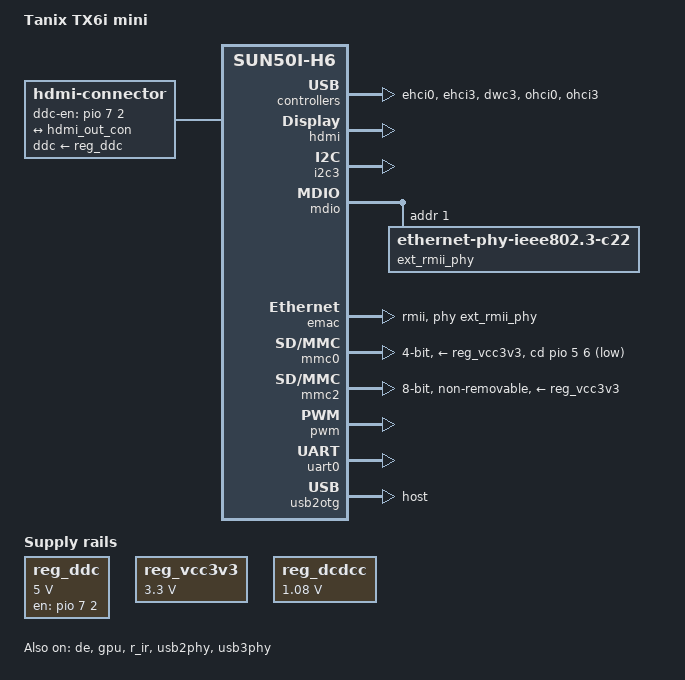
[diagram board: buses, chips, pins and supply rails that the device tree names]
// SPDX-License-Identifier: (GPL-2.0+ or MIT)
/*
 * Copyright (c) 2019 Jernej Skrabec <jernej.skrabec@siol.net>
 */

/dts-v1/;

#include "sun50i-h6.dtsi"

#include <dt-bindings/gpio/gpio.h>

/ {
	model = "Tanix TX6i mini";
	compatible = "oranth,tanix-tx6-mini", "allwinner,sun50i-h6";

	aliases {
		serial0 = &uart0;
		ethernet0 = &emac;
	};

	chosen {
		stdout-path = "serial0:115200n8";
	};

	connector {
		compatible = "hdmi-connector";
		ddc-en-gpios = <&pio 7 2 GPIO_ACTIVE_HIGH>; /* PH2 */
		type = "a";
		ddc-supply = <&reg_ddc>;

		port {
			hdmi_con_in: endpoint {
				remote-endpoint = <&hdmi_out_con>;
			};
		};
	};

	reg_ddc: ddc-io {
		compatible = "regulator-fixed";
		regulator-name = "ddc-io";
		regulator-min-microvolt = <5000000>;
		regulator-max-microvolt = <5000000>;
		enable-active-high;
		gpio = <&pio 7 2 GPIO_ACTIVE_HIGH>; /* PH2 */
	};

	reg_vcc3v3: vcc3v3 {
		compatible = "regulator-fixed";
		regulator-name = "vcc3v3";
		regulator-min-microvolt = <3300000>;
		regulator-max-microvolt = <3300000>;
	};

	reg_dcdcc: dcdcc {
		compatible = "regulator-fixed";
		regulator-name = "vdd-gpu";
		regulator-min-microvolt = <1080000>;
		regulator-max-microvolt = <1080000>;
		regulator-always-on;
	};

/*
	vdd_wifi: vdd_wifi {
 		compatible = "regulator-fixed";
		regulator-name = "wifi";
		regulator-min-microvolt = <1800000>;
		regulator-max-microvolt = <1800000>;
 	};

	pwrseq_wifi: pwrseq_wifi {
		compatible = "mmc-pwrseq-simple";
		pinctrl-names = "default";
		pinctrl-0 = <&wifi_rst>;
		post-power-on-delay-ms = <200>;
	};
*/
};

&de {
	status = "okay";
};

&ac200_pwm_clk {
	status = "okay";
};

&gpu {
	mali-supply = <&reg_dcdcc>;
	status = "okay";
};

&ehci0 {
	status = "okay";
};

&ehci3 {
	status = "okay";
};

&dwc3 {
	status = "okay";
};

&hdmi {
	status = "okay";
};

&hdmi_out {
	hdmi_out_con: endpoint {
		remote-endpoint = <&hdmi_con_in>;
	};
};

&i2c3 {
	status = "okay";
};

&mdio {
	ext_rmii_phy: ethernet-phy@1 {
		compatible = "ethernet-phy-ieee802.3-c22";
		reg = <1>;
	};
};

&emac {
	pinctrl-names = "default";
	pinctrl-0 = <&ext_rmii_pins>;
	phy-mode = "rmii";
	phy-handle = <&ext_rmii_phy>;
	status = "okay";
};

&mmc0 {
	pinctrl-names = "default";
	pinctrl-0 = <&mmc0_pins>;
	vmmc-supply = <&reg_vcc3v3>;
	cd-gpios = <&pio 5 6 GPIO_ACTIVE_LOW>; /* PF6 */
	bus-width = <4>;
	status = "okay";
};

&mmc2 {
	vmmc-supply = <&reg_vcc3v3>;
	non-removable;
	cap-mmc-hw-reset;
	bus-width = <8>;
	status = "okay";
};

/*
&mmc1 {
	vmmc-supply = <&reg_vcc3v3>;
	vqmmc-supply = <&vdd_wifi>;
	mmc-pwrseq = <&pwrseq_wifi>;
	bus-width = <4>;
	max-frequency = <16000000>;
	non-removable;
	status = "okay";
*/
	/*
	 * Explicitly define the sdio device, so that we can add an ethernet
	 * alias for it (which e.g. makes u-boot set a mac-address).
	 */
/*
	xr819: sdio_wifi@1 {
		reg = <1>;
		compatible = "xradio,xr819";
		pinctrl-names = "default";
		pinctrl-0 = <&wifi_wake>;
	};
};
*/

&pwm {
	status = "okay";
};

&ohci0 {
	status = "okay";
};

&ohci3 {
	status = "okay";
};

&r_ir {
	status = "okay";
};

&uart0 {
	pinctrl-names = "default";
	pinctrl-0 = <&uart0_ph_pins>;
	status = "okay";
};

&usb2otg {
	dr_mode = "host";
	status = "okay";
};

&usb2phy {
	status = "okay";
};

/*
&r_pio {
	wifi_wake: wifi_wake {
		pins = "PM0";
		function = "gpio_in";
    	};
};

&r_pio {
	wifi_rst: wifi_rst {
		pins = "PM4";
		function = "gpio_out";
    	};
};
*/
&usb3phy {
	status = "okay";
};

